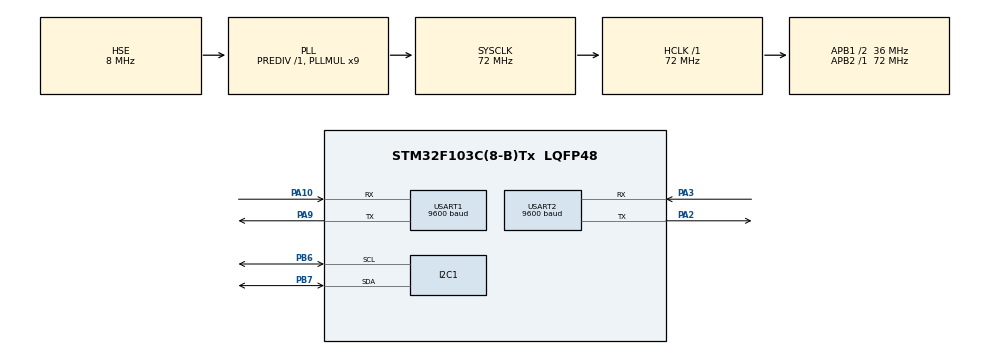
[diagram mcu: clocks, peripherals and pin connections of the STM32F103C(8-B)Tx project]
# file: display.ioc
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I2C1.I2C_Mode=I2C_Fast
Mcu.Family=STM32F1
Mcu.Name=STM32F103C(8-B)Tx
Mcu.Package=LQFP48
NVIC.PriorityGroup=NVIC_PRIORITYGROUP_4
PA10.Mode=Asynchronous
PA10.Signal=USART1_RX
PA13.Mode=Serial_Wire
PA13.Signal=SYS_JTMS-SWDIO
PA14.Mode=Serial_Wire
PA14.Signal=SYS_JTCK-SWCLK
PA2.Mode=Asynchronous
PA2.Signal=USART2_TX
PA3.Mode=Asynchronous
PA3.Signal=USART2_RX
PA9.Mode=Asynchronous
PA9.Signal=USART1_TX
PB6.Mode=I2C
PB6.Signal=I2C1_SCL
PB7.Mode=I2C
PB7.Signal=I2C1_SDA
PD0-OSC_IN.Mode=HSE-External-Oscillator
PD0-OSC_IN.Signal=RCC_OSC_IN
PD1-OSC_OUT.Mode=HSE-External-Oscillator
PD1-OSC_OUT.Signal=RCC_OSC_OUT
ProjectManager.HeapSize=0x200
ProjectManager.StackSize=0x400
ProjectManager.TargetToolchain=MDK-ARM V5
RCC.AHBFreq_Value=72000000
RCC.APB1CLKDivider=RCC_HCLK_DIV2
RCC.APB1Freq_Value=36000000
RCC.APB1TimFreq_Value=72000000
RCC.APB2Freq_Value=72000000
RCC.APB2TimFreq_Value=72000000
RCC.HCLKFreq_Value=72000000
RCC.PLLMUL=RCC_PLL_MUL9
RCC.PLLSourceVirtual=RCC_PLLSOURCE_HSE
RCC.SYSCLKFreq_VALUE=72000000
RCC.SYSCLKSource=RCC_SYSCLKSOURCE_PLLCLK
RCC.USBFreq_Value=72000000
USART1.BaudRate=9600
USART1.VirtualMode=VM_ASYNC
USART2.BaudRate=9600
USART2.VirtualMode=VM_ASYNC
board=custom

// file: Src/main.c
/* USER CODE BEGIN Header */
/**
  ******************************************************************************
  * @file           : main.c
  * @brief          : Main program body
  ******************************************************************************
  * @attention
  *
  * <h2><center>&copy; Copyright (c) 2019 STMicroelectronics.
  * All rights reserved.</center></h2>
  *
  * This software component is licensed by ST under BSD 3-Clause license,
  * the "License"; You may not use this file except in compliance with the
  * License. You may obtain a copy of the License at:
  *                        opensource.org/licenses/BSD-3-Clause
  *
  ******************************************************************************
  */
/* USER CODE END Header */

#include "main.h"
#include "i2c.h"
#include "usart.h"
#include "gpio.h"

/* USER CODE BEGIN Includes */
#include "dht11.h"
#include <stdio.h>

#include "fonts.h"
#include "ssd1306.h"
#include "Honeywell_DustSensor.h"
/* USER CODE END Includes */

/* USER CODE BEGIN PD */
extern DHT11_Data_TypeDef DHT11_Data;
extern uint16_t PM2_5,PM10;
/* USER CODE END PD */

void SystemClock_Config(void);

int main(void)
{

  /* MCU Configuration--------------------------------------------------------*/

  /* Reset of all peripherals, Initializes the Flash interface and the Systick. */
  HAL_Init();

  /* Configure the system clock */
  SystemClock_Config();

  /* Initialize all configured peripherals */
  MX_GPIO_Init();
  MX_USART1_UART_Init();
  MX_I2C1_Init();
  MX_USART2_UART_Init();
  /* USER CODE BEGIN 2 */
	uint8_t res = SSD1306_Init();
	printf("OLED init: %d\n", res);
	SSD1306_GotoXY(10,27);
	SSD1306_Puts("OLED inited", &Font_7x10, 1);
	SSD1306_UpdateScreen();
	HAL_Delay(1000);
	SSD1306_Fill(0); //clear oled
	start_Particle_Measure();
	Enable_Auto_Send();
  /* USER CODE END 2 */

  /* Infinite loop */
  /* USER CODE BEGIN WHILE */
	double d_temp,d_humi;
  while (1)
  {
    /* USER CODE END WHILE */

    /* USER CODE BEGIN 3 */
		Read_Particle_Measuring();
		if(Read_DHT11(&DHT11_Data) == SUCCESS) {
			d_humi = DHT11_Data.humi_int + DHT11_Data.humi_deci*0.1;
			d_temp = DHT11_Data.temp_int + DHT11_Data.temp_deci*0.1;

		}

		SSD1306_GotoXY(0,0);
		SSD1306_Puts("Temp:", &Font_11x18, 1);
		OLED_showdouble(50,0,(double)d_temp);
		SSD1306_GotoXY(110,0);
		SSD1306_Puts("C", &Font_11x18, 1);

		SSD1306_GotoXY(0,20);
		SSD1306_Puts("Humi:", &Font_11x18, 1);
		OLED_showdouble(50,20,(double)d_humi);
		SSD1306_GotoXY(110,20);
		SSD1306_Puts("%", &Font_11x18, 1);

		SSD1306_GotoXY(0,40);
		SSD1306_Puts("PM25:", &Font_11x18, 1);
		OLED_showdouble(50,40,PM2_5);
		SSD1306_GotoXY(110,40);
		SSD1306_Puts("ug/m3", &Font_11x18, 1);
			printf("%d\n",PM2_5);

		SSD1306_UpdateScreen();
		SSD1306_Fill(0); //clear oled
		DHT11_PRINTF();

  }
  /* USER CODE END 3 */
}

void SystemClock_Config(void)
{
  RCC_OscInitTypeDef RCC_OscInitStruct = {0};
  RCC_ClkInitTypeDef RCC_ClkInitStruct = {0};

  /** Initializes the CPU, AHB and APB busses clocks
  */
  RCC_OscInitStruct.OscillatorType = RCC_OSCILLATORTYPE_HSE;
  RCC_OscInitStruct.HSEState = RCC_HSE_ON;
  RCC_OscInitStruct.HSEPredivValue = RCC_HSE_PREDIV_DIV1;
  RCC_OscInitStruct.HSIState = RCC_HSI_ON;
  RCC_OscInitStruct.PLL.PLLState = RCC_PLL_ON;
  RCC_OscInitStruct.PLL.PLLSource = RCC_PLLSOURCE_HSE;
  RCC_OscInitStruct.PLL.PLLMUL = RCC_PLL_MUL9;
  if (HAL_RCC_OscConfig(&RCC_OscInitStruct) != HAL_OK)
  {
    Error_Handler();
  }
  /** Initializes the CPU, AHB and APB busses clocks
  */
  RCC_ClkInitStruct.ClockType = RCC_CLOCKTYPE_HCLK|RCC_CLOCKTYPE_SYSCLK
                              |RCC_CLOCKTYPE_PCLK1|RCC_CLOCKTYPE_PCLK2;
  RCC_ClkInitStruct.SYSCLKSource = RCC_SYSCLKSOURCE_PLLCLK;
  RCC_ClkInitStruct.AHBCLKDivider = RCC_SYSCLK_DIV1;
  RCC_ClkInitStruct.APB1CLKDivider = RCC_HCLK_DIV2;
  RCC_ClkInitStruct.APB2CLKDivider = RCC_HCLK_DIV1;

  if (HAL_RCC_ClockConfig(&RCC_ClkInitStruct, FLASH_LATENCY_2) != HAL_OK)
  {
    Error_Handler();
  }
}

/* USER CODE BEGIN 4 */
void OLED_showdouble(uint16_t x, uint16_t y,double z)
{
char str[20];
sprintf(str,"%0.2f",z);
SSD1306_GotoXY(x,y);
SSD1306_Puts(str, &Font_11x18, 1);
}
/* USER CODE END 4 */

void Error_Handler(void)
{
}

/************************ (C) COPYRIGHT STMicroelectronics *****END OF FILE****/
